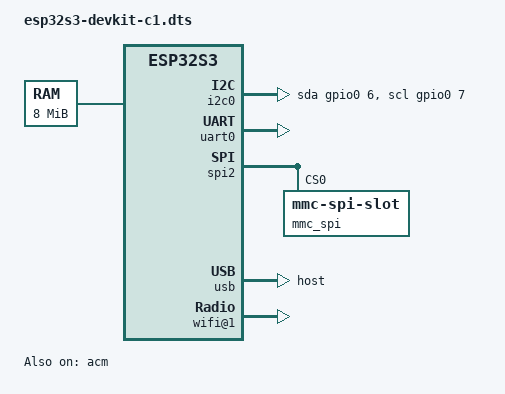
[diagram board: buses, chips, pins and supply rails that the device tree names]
// SPDX-License-Identifier: GPL-2.0-or-later
/dts-v1/;
#include <dt-bindings/gpio/gpio.h>
#include <dt-bindings/interrupt-controller/irq.h>
#include "gpio-esp32.h"
#include "esp32s3.dtsi"

/ {
	memory@0 {
		device_type = "memory";
		reg = <0x3d800000 0x00800000>;
	};

	i2c0 {
		#address-cells = <1>;
		#size-cells = <0>;
		compatible = "i2c-gpio";

		sda-gpios = <&gpio0 6 (GPIO_ACTIVE_HIGH | GPIO_OPEN_DRAIN)>;
		scl-gpios = <&gpio0 7 (GPIO_ACTIVE_HIGH | GPIO_OPEN_DRAIN)>;

		pinctrl-0 = <&i2c0_pins>;
		pinctrl-names = "default";
	};
};

&gpio_in_mux {
	status = "ok";
	usb_device_in: usb_device_in {
		pinctrl-single,pins = <
			GPIO_FUNC_IN_SEL(58) 0x38		/* usb_otg_iddig_in: fixed '1' */
			GPIO_FUNC_IN_SEL(59) 0x3c		/* usb_srp_avalid_in: fixed '0' */
			GPIO_FUNC_IN_SEL(60) 0x38		/* usb_srp_bvalid_in: fixed '1' */
			GPIO_FUNC_IN_SEL(61) 0x38>;		/* usb_otg_vbusvalid_in: fixed '1' */
	};

	usb_host_in: usb_host_in {
		pinctrl-single,pins = <
			GPIO_FUNC_IN_SEL(58) 0x3c		/* usb_otg_iddig_in: fixed '0' */
			GPIO_FUNC_IN_SEL(59) 0x38		/* usb_srp_avalid_in: fixed '1' */
			GPIO_FUNC_IN_SEL(60) 0x3c		/* usb_srp_bvalid_in: fixed '0' */
			GPIO_FUNC_IN_SEL(61) 0x38>;		/* usb_otg_vbusvalid_in: fixed '1' */
	};
};

&rtc_iomux {
	status = "ok";
	usb_rtc_pins: usb_rtc_pins {
		pinctrl-single,pins = <
			PIN(19) RTC_MUX_SEL			/* USB_D- */
			PIN(20) RTC_MUX_SEL>;			/* USB_D+ */
	};
};

&iomux {
	status = "ok";

	i2c0_pins: i2c0_pins {
		pinctrl-single,pins = <
			PIN(6) FUN0_20MA_IE_WPU			/* SDA */
			PIN(7) FUN0_20MA_IE_WPU>;		/* SCL */
	};
	spi2_pins: spi2_pins {
		pinctrl-single,pins = <
			PIN(10) (FUN_SEL(4) | FUN_DRV_20MA)	/* CS0 */
			PIN(11) (FUN_SEL(4) | FUN_DRV_40MA)	/* MOSI */
			PIN(12) (FUN_SEL(4) | FUN_DRV_40MA)	/* SCK */
			PIN(13) (FUN_SEL(4) | FUN0_20MA_IE_WPU)>;/* MISO */
	};
	uart0_pins: uart0_pins {
		pinctrl-single,pins = <
			PIN(43) FUN0_20MA			/* U0TXD */
			PIN(44) FUN0_20MA_IE_WPU>;		/* U0RXD */
	};
	usb_pins: usb_pins {
		pinctrl-single,pins = <
			PIN(19) MUX_SLP_SEL			/* USB_D- */
			PIN(20) MUX_SLP_SEL>;			/* USB_D+ */
	};
};

&gpio0 {
	status = "ok";
};

&uart0 {
	pinctrl-0 = <&uart0_pins>;
	pinctrl-names = "default";
	status = "ok";
};

&spi2 {
	pinctrl-0 = <&spi2_pins>;
	pinctrl-names = "default";
	status = "ok";

	mmc_spi@0 {
		compatible = "mmc-spi-slot";
		reg = <0>;
	};
};

&acm {
	status = "ok";
};

&usb {
#if 1
	dr_mode = "host";
	pinctrl-0 = <&usb_host_in &usb_rtc_pins>;
#else
	dr_mode = "peripheral";
	pinctrl-0 = <&usb_device_in &usb_rtc_pins>;
#endif
	pinctrl-names = "default";
	status = "ok";
};

&ipc {
	wifi@1 {
		compatible = "esp,esp32-wifi-shmem";
		reg = <1>;
	};
};

&intc {
	reg = <0x600c2800 0x800>;
};
